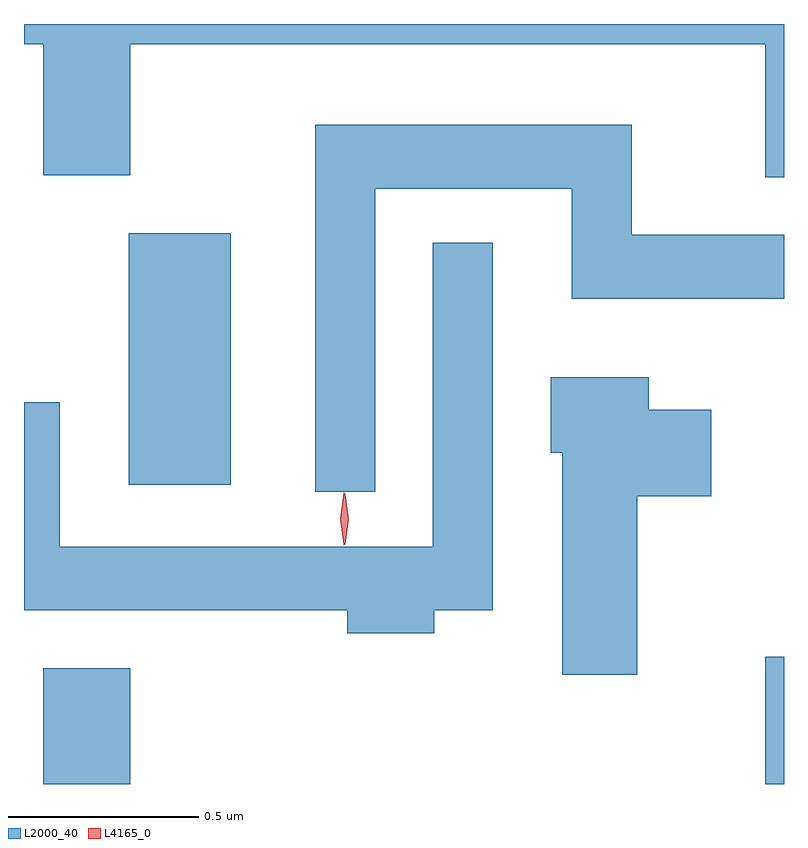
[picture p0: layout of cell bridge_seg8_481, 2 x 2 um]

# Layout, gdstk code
import gdstk
lib = gdstk.Library(unit=1e-6, precision=1e-09)
def R(c, l, rs):  # rectangles x0, y0, x1, y1
    for r in rs: c.add(gdstk.rectangle(r[:2], r[2:], *l))
def P(c, l, *ps):  # polygons
    for p in ps: c.add(gdstk.Polygon(p, *l))
L2000_40 = (2000, 40)
L4165_0 = (4165, 0)

bridge_seg8_481 = lib.new_cell('bridge_seg8_481')
R(bridge_seg8_481, L2000_40, [(526.951,1929.929,527.179,1930.234), (528.851,1929.929,528.9,1930.264), (527.176,1930.716,527.444,1931.379)])
P(bridge_seg8_481, L2000_40, [(528.9,1931.929),(526.9,1931.929),(526.9,1931.876),(526.951,1931.876),(526.951,1931.531),(527.179,1931.531),(527.179,1931.876),(528.851,1931.876),(528.851,1931.526),(528.9,1931.526)],
  [(527.824,1931.496),(528.341,1931.496),(528.341,1931.206),(528.9,1931.206),(528.9,1931.374),(528.499,1931.374),(528.499,1931.664),(527.666,1931.664),(527.666,1930.698),(527.824,1930.698)],
  [(527.979,1930.386),(528.134,1930.386),(528.134,1931.353),(527.976,1931.353),(527.976,1930.554),(526.994,1930.554),(526.994,1930.933),(526.9,1930.933),(526.9,1930.386),(527.751,1930.386),(527.751,1930.326),(527.979,1930.326)],
  [(528.514,1930.686),(528.709,1930.686),(528.709,1930.914),(528.544,1930.914),(528.544,1930.999),(528.286,1930.999),(528.286,1930.801),(528.316,1930.801),(528.316,1930.216),(528.514,1930.216)])
P(bridge_seg8_481, L4165_0, [(527.742,1930.557),(527.742,1930.558),(527.732,1930.627),(527.742,1930.696),(527.742,1930.696),(527.743,1930.696),(527.752,1930.627),(527.743,1930.558)],
  [(527.745,1930.559),(527.744,1930.56),(527.735,1930.626),(527.744,1930.692),(527.745,1930.693),(527.745,1930.692),(527.755,1930.626),(527.745,1930.56)])

lib.write_gds('bridge_seg8_481.gds')
